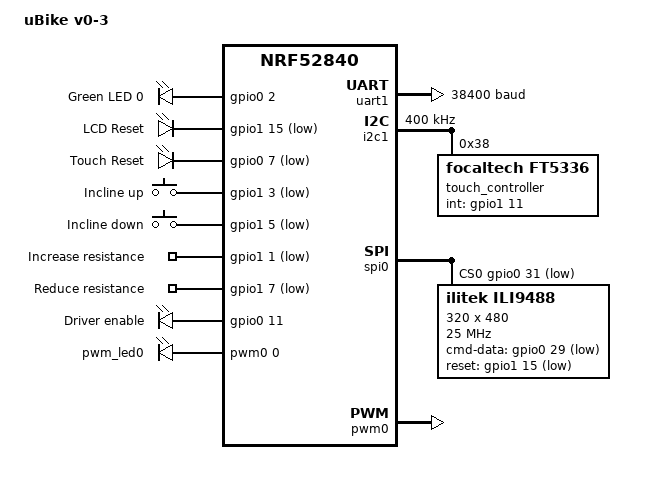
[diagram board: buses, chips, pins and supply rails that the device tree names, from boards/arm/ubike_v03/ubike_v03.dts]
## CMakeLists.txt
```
# Universal Bike Controller
# Copyright (C) 2022-2023, Greco Engineering Solutions LLC
#
# This program is free software: you can redistribute it and/or modify
# it under the terms of the GNU General Public License as published by
# the Free Software Foundation, either version 3 of the License, or
# (at your option) any later version.
#
# This program is distributed in the hope that it will be useful,
# but WITHOUT ANY WARRANTY; without even the implied warranty of
# MERCHANTABILITY or FITNESS FOR A PARTICULAR PURPOSE.  See the
# GNU General Public License for more details.
#
# You should have received a copy of the GNU General Public License
# along with this program.  If not, see <http://www.gnu.org/licenses/>.

# Get the current working branch
execute_process(
    COMMAND git rev-parse --abbrev-ref HEAD
    WORKING_DIRECTORY ${CMAKE_SOURCE_DIR}
    OUTPUT_VARIABLE GIT_BRANCH
    OUTPUT_STRIP_TRAILING_WHITESPACE)

# Get the latest commit hash
execute_process(
    COMMAND git rev-parse HEAD
    WORKING_DIRECTORY ${CMAKE_SOURCE_DIR}
    OUTPUT_VARIABLE GIT_COMMIT_HASH
    OUTPUT_STRIP_TRAILING_WHITESPACE)

# Get the latest tag associated with the current commit, if any
execute_process(
    COMMAND bash -c "git describe --tags --exact-match 2>/dev/null || echo ''"
    WORKING_DIRECTORY ${CMAKE_SOURCE_DIR}
    RESULT_VARIABLE GIT_DESCRIBE_RESULT
    OUTPUT_VARIABLE GIT_TAG
    OUTPUT_STRIP_TRAILING_WHITESPACE)

# Debugging output for the definitions
message(STATUS "GIT_COMMIT_HASH: ${GIT_COMMIT_HASH}")
message(STATUS "GIT_BRANCH: ${GIT_BRANCH}")
message(STATUS "GIT_TAG: ${GIT_TAG}")

# Add the definitions for the commit hash, branch, and tag
add_compile_definitions(
    GIT_COMMIT_HASH="${GIT_COMMIT_HASH}" 
    GIT_BRANCH="${GIT_BRANCH}" 
    GIT_TAG="${GIT_TAG}")

cmake_minimum_required(VERSION 3.20.0)
list(APPEND BOARD_ROOT ${CMAKE_CURRENT_SOURCE_DIR})
find_package(Zephyr REQUIRED HINTS $ENV{ZEPHYR_BASE})
project(ubike)
target_include_directories(app PRIVATE include)

target_sources(app PRIVATE src/asciiModbus.c)
target_sources(app PRIVATE src/bikeControl.c)
target_sources(app PRIVATE src/cps.c)
target_sources(app PRIVATE src/cscs.c)
target_sources(app PRIVATE src/display.c)
# target_sources(app PRIVATE src/fec.c)
target_sources(app PRIVATE src/ftms.c)
target_sources(app PRIVATE src/main.c)
```

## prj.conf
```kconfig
# Universal Bike Controller
# Copyright (C) 2022-2023, Greco Engineering Solutions LLC
#
# This program is free software: you can redistribute it and/or modify
# it under the terms of the GNU General Public License as published by
# the Free Software Foundation, either version 3 of the License, or
# (at your option) any later version.
#
# This program is distributed in the hope that it will be useful,
# but WITHOUT ANY WARRANTY; without even the implied warranty of
# MERCHANTABILITY or FITNESS FOR A PARTICULAR PURPOSE.  See the
# GNU General Public License for more details.
#
# You should have received a copy of the GNU General Public License
# along with this program.  If not, see <http://www.gnu.org/licenses/>.

CONFIG_ZCBOR=y
CONFIG_SERIAL=y
CONFIG_UART_ASYNC_API=y
CONFIG_COUNTER=y
CONFIG_NRFX_RTC2=y

CONFIG_BT=y
#CONFIG_BT_DEBUG_LOG=y
CONFIG_BT_SMP=y
CONFIG_BT_DFU_SMP=y
#CONFIG_BT_DEBUG_SMP=y
CONFIG_BT_PERIPHERAL=y
#CONFIG_BT_DIS=y
#CONFIG_BT_DIS_PNP=n
CONFIG_BT_DEVICE_NAME="uBike FTMS"
CONFIG_BT_DEVICE_APPEARANCE=1152

# For RTT debugging
CONFIG_RTT_CONSOLE=y
CONFIG_USE_SEGGER_RTT=y
CONFIG_CONSOLE=y
#CONFIG_I2C_LOG_LEVEL_DBG=y

# For LCD display
CONFIG_HEAP_MEM_POOL_SIZE=16384
CONFIG_MAIN_STACK_SIZE=8192
CONFIG_DISPLAY=y
CONFIG_SPI=y
CONFIG_LOG=n
CONFIG_LV_Z_MEM_POOL_NUMBER_BLOCKS=8
#CONFIG_DISPLAY_LOG_LEVEL_ERR=y
CONFIG_LVGL=y
CONFIG_LV_MEM_CUSTOM=y
#CONFIG_LV_USE_LOG=y
CONFIG_LV_USE_LABEL=y
CONFIG_LV_USE_BTN=y
CONFIG_LV_USE_IMG=y
CONFIG_LV_FONT_MONTSERRAT_24=y
CONFIG_LV_FONT_MONTSERRAT_48=y
CONFIG_LV_Z_POINTER_KSCAN=y
# CONFIG_DISPLAY_LOG_LEVEL_DBG=y

# For capacitive touch
CONFIG_KSCAN=y
CONFIG_I2C=y
CONFIG_INPUT=y
CONFIG_INPUT_FT5336=y
CONFIG_INPUT_FT5336_INTERRUPT=y
#CONFIG_INPUT_FT5336_PERIOD=1000
CONFIG_LV_Z_POINTER_KSCAN_SWAP_XY=y
CONFIG_LV_Z_POINTER_KSCAN_INVERT_Y=y

# For LED Backlight
CONFIG_PWM=y

# For diagnostics
# CONFIG_RESET_ON_FATAL_ERROR=n

# DFU support
CONFIG_MCUMGR=y
#CONFIG_MCUMGR_CMD_IMG_MGMT=y
#CONFIG_MCUMGR_CMD_OS_MGMT=y
CONFIG_BOOTLOADER_MCUBOOT=y
CONFIG_BT_L2CAP_TX_MTU=252
CONFIG_BT_BUF_ACL_RX_SIZE=256
#CONFIG_MCUMGR_SMP_BT=y
#CONFIG_MCUMGR_SMP_BT_AUTHEN=n
CONFIG_SYSTEM_WORKQUEUE_STACK_SIZE=4096
```

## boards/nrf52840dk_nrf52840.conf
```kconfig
# Universal Bike Controller
# Copyright (C) 2022-2023, Greco Engineering Solutions LLC
#
# This program is free software: you can redistribute it and/or modify
# it under the terms of the GNU General Public License as published by
# the Free Software Foundation, either version 3 of the License, or
# (at your option) any later version.
#
# This program is distributed in the hope that it will be useful,
# but WITHOUT ANY WARRANTY; without even the implied warranty of
# MERCHANTABILITY or FITNESS FOR A PARTICULAR PURPOSE.  See the
# GNU General Public License for more details.
#
# You should have received a copy of the GNU General Public License
# along with this program.  If not, see <http://www.gnu.org/licenses/>.

CONFIG_DUMMY_DISPLAY=y
CONFIG_MCUMGR=n
CONFIG_BOOTLOADER_MCUBOOT=n

CONFIG_KSCAN=n
CONFIG_I2C=n
```

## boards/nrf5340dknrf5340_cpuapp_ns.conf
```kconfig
# Universal Bike Controller
# Copyright (C) 2022-2023, Greco Engineering Solutions LLC
#
# This program is free software: you can redistribute it and/or modify
# it under the terms of the GNU General Public License as published by
# the Free Software Foundation, either version 3 of the License, or
# (at your option) any later version.
#
# This program is distributed in the hope that it will be useful,
# but WITHOUT ANY WARRANTY; without even the implied warranty of
# MERCHANTABILITY or FITNESS FOR A PARTICULAR PURPOSE.  See the
# GNU General Public License for more details.
#
# You should have received a copy of the GNU General Public License
# along with this program.  If not, see <http://www.gnu.org/licenses/>.

CONFIG_DUMMY_DISPLAY=y
CONFIG_SDL_DISPLAY=n
#CONFIG_TEST=y

CONFIG_MCUMGR=n
CONFIG_BOOTLOADER_MCUBOOT=n

CONFIG_KSCAN=n
CONFIG_I2C=n
```

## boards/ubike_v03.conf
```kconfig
# Universal Bike Controller
# Copyright (C) 2022-2023, Greco Engineering Solutions LLC
#
# This program is free software: you can redistribute it and/or modify
# it under the terms of the GNU General Public License as published by
# the Free Software Foundation, either version 3 of the License, or
# (at your option) any later version.
#
# This program is distributed in the hope that it will be useful,
# but WITHOUT ANY WARRANTY; without even the implied warranty of
# MERCHANTABILITY or FITNESS FOR A PARTICULAR PURPOSE.  See the
# GNU General Public License for more details.
#
# You should have received a copy of the GNU General Public License
# along with this program.  If not, see <http://www.gnu.org/licenses/>.
```

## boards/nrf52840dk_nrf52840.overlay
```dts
/*
 * Universal Bike Controller
 * Copyright (C) 2022-2023, Greco Engineering Solutions LLC
 *
 * This program is free software: you can redistribute it and/or modify
 * it under the terms of the GNU General Public License as published by
 * the Free Software Foundation, either version 3 of the License, or
 * (at your option) any later version.
 *
 * This program is distributed in the hope that it will be useful,
 * but WITHOUT ANY WARRANTY; without even the implied warranty of
 * MERCHANTABILITY or FITNESS FOR A PARTICULAR PURPOSE.  See the
 * GNU General Public License for more details.
 *
 * You should have received a copy of the GNU General Public License
 * along with this program.  If not, see <http://www.gnu.org/licenses/>.
 */

 / {
	chosen {
		zephyr,display = &dummy_dc;
		zephyr,flash = &flash0;
		zephyr,keyboard-scan = &touch_controller;
	};

	aliases {
		addinc = &button0;
		addres = &button2;
		subinc = &button1;
		subres = &button3;
		led0 = &led0;
		rs485de = &led1;
		cptrst = &led2;
		lcdrst = &led3;
		blpwm = &pwm_led0;
	};

	dummy_dc: dummy_dc {
		compatible = "zephyr,dummy-dc";
		height = <320>;
		width = <480>;
	};
};

&flash0 {
	partitions {
		boot_partition: partition@0 {
				reg = <0x00000000 0x00008000>;
		};
	};
};

&i2c1 {
	compatible = "nordic,nrf-twim";
	status = "okay";
	clock-frequency = <I2C_BITRATE_FAST>;
	pinctrl-0 = <&i2c1_default>;
	pinctrl-1 = <&i2c1_sleep>;
	pinctrl-names = "default", "sleep";

	touch_controller: ft5336@38 {
		compatible = "focaltech,ft5336";
		reg = <0x38>;
		int-gpios = <&gpio1 11 GPIO_ACTIVE_HIGH>; // YD
	};
};

&spi1 {
	status = "disabled";
};
```

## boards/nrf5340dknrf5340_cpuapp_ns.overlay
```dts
/*
 * Universal Bike Controller
 * Copyright (C) 2022-2023, Greco Engineering Solutions LLC
 *
 * This program is free software: you can redistribute it and/or modify
 * it under the terms of the GNU General Public License as published by
 * the Free Software Foundation, either version 3 of the License, or
 * (at your option) any later version.
 *
 * This program is distributed in the hope that it will be useful,
 * but WITHOUT ANY WARRANTY; without even the implied warranty of
 * MERCHANTABILITY or FITNESS FOR A PARTICULAR PURPOSE.  See the
 * GNU General Public License for more details.
 *
 * You should have received a copy of the GNU General Public License
 * along with this program.  If not, see <http://www.gnu.org/licenses/>.
 */

 / {
	chosen {
		zephyr,display = &dummy_dc;
		zephyr,flash = &flash0;
		zephyr,keyboard-scan = &touch_controller;
	};

	aliases {
		addinc = &button0;
		addres = &button2;
		subinc = &button1;
		subres = &button3;
		led0 = &led0;
		rs485de = &led1;
		cptrst = &led2;
		lcdrst = &led3;
		blpwm = &pwm_led0;
	};

	dummy_dc: dummy_dc {
		compatible = "zephyr,dummy-dc";
		height = <320>;
		width = <480>;
	};
};

&flash0 {
	partitions {
		boot_partition: partition@0 {
				reg = <0x00000000 0x00008000>;
		};
	};
};

&uart1 {
	status = "okay";
};

&i2c1 {
	compatible = "nordic,nrf-twim";
	status = "okay";
	clock-frequency = <I2C_BITRATE_FAST>;
	pinctrl-0 = <&i2c1_default>;
	pinctrl-1 = <&i2c1_sleep>;
	pinctrl-names = "default", "sleep";

	touch_controller: ft5336@38 {
		compatible = "focaltech,ft5336";
		reg = <0x38>;
		int-gpios = <&gpio1 11 GPIO_ACTIVE_HIGH>; // YD
	};
};

&spi1 {
	status = "disabled";
};
```

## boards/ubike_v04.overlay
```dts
/*
 * Universal Bike Controller
 * Copyright (C) 2022-2023, Greco Engineering Solutions LLC
 *
 * This program is free software: you can redistribute it and/or modify
 * it under the terms of the GNU General Public License as published by
 * the Free Software Foundation, either version 3 of the License, or
 * (at your option) any later version.
 *
 * This program is distributed in the hope that it will be useful,
 * but WITHOUT ANY WARRANTY; without even the implied warranty of
 * MERCHANTABILITY or FITNESS FOR A PARTICULAR PURPOSE.  See the
 * GNU General Public License for more details.
 *
 * You should have received a copy of the GNU General Public License
 * along with this program.  If not, see <http://www.gnu.org/licenses/>.
 */
```

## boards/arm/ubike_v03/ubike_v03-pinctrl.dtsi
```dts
/*
 * Universal Bike Controller
 * Copyright (C) 2022-2023, Greco Engineering Solutions LLC
 *
 * This program is free software: you can redistribute it and/or modify
 * it under the terms of the GNU General Public License as published by
 * the Free Software Foundation, either version 3 of the License, or
 * (at your option) any later version.
 *
 * This program is distributed in the hope that it will be useful,
 * but WITHOUT ANY WARRANTY; without even the implied warranty of
 * MERCHANTABILITY or FITNESS FOR A PARTICULAR PURPOSE.  See the
 * GNU General Public License for more details.
 *
 * You should have received a copy of the GNU General Public License
 * along with this program.  If not, see <http://www.gnu.org/licenses/>.
 */

 &pinctrl {
	uart1_default: uart1_default {
		group1 {
			psels = <NRF_PSEL(UART_TX, 1, 8)>,
					<NRF_PSEL(UART_RX, 0, 12)>;
			//bias-pull-up;
		};
	};

	uart1_sleep: uart1_sleep {
		group1 {
			psels = <NRF_PSEL(UART_TX, 1, 8)>,
					<NRF_PSEL(UART_RX, 0, 12)>;
			low-power-enable;
		};
	};

	i2c1_default: i2c1_default {
		group1 {
			psels = <NRF_PSEL(TWIM_SDA, 0, 27)>, // XR
					<NRF_PSEL(TWIM_SCL, 1, 13)>; // XL
		};
	};

	i2c1_sleep: i2c1_sleep {
		group1 {
			psels = <NRF_PSEL(TWIM_SDA, 0, 27)>, // XR
					<NRF_PSEL(TWIM_SCL, 1, 13)>; // XL
			low-power-enable;
		};
	};

	spi0_default: spi0_default {
		group1 {
			psels = <NRF_PSEL(SPIM_SCK, 0, 30)>,  // SCL
					<NRF_PSEL(SPIM_MOSI, 1, 10)>, // SDI
					<NRF_PSEL(SPIM_MISO, 0, 28)>; // SDO
		};
	};

	spi0_sleep: spi0_sleep {
		group1 {
			psels = <NRF_PSEL(SPIM_SCK, 0, 30)>,  // SCL
					<NRF_PSEL(SPIM_MOSI, 1, 10)>, // SDI
					<NRF_PSEL(SPIM_MISO, 0, 28)>; // SDO
			low-power-enable;
		};
	};

	pwm0_default: pwm0_default {
		group1 {
			psels = <NRF_PSEL(PWM_OUT0, 0, 26)>;
		};
	};

	pwm0_sleep: pwm0_sleep {
		group1 {
			psels = <NRF_PSEL(PWM_OUT0, 0, 26)>;
			low-power-enable;
		};
	};
};
```

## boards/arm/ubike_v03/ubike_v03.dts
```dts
/*
 * Universal Bike Controller
 * Copyright (C) 2022-2023, Greco Engineering Solutions LLC
 *
 * This program is free software: you can redistribute it and/or modify
 * it under the terms of the GNU General Public License as published by
 * the Free Software Foundation, either version 3 of the License, or
 * (at your option) any later version.
 *
 * This program is distributed in the hope that it will be useful,
 * but WITHOUT ANY WARRANTY; without even the implied warranty of
 * MERCHANTABILITY or FITNESS FOR A PARTICULAR PURPOSE.  See the
 * GNU General Public License for more details.
 *
 * You should have received a copy of the GNU General Public License
 * along with this program.  If not, see <http://www.gnu.org/licenses/>.
 */

/dts-v1/;
#include <nordic/nrf52840_qiaa.dtsi>
#include <zephyr/dt-bindings/display/ili9xxx.h>
#include "ubike_v03-pinctrl.dtsi"

/ {
	model = "uBike v0-3";
	compatible = "ubike,ubike-v03";

	 chosen {
		 zephyr,console = &uart0;
		 zephyr,shell-uart = &uart0;
		 zephyr,uart-mcumgr = &uart0;
		 zephyr,bt-mon-uart = &uart0;
		 zephyr,bt-c2h-uart = &uart0;
		 zephyr,sram = &sram0;
		 zephyr,flash = &flash0;
		 zephyr,display = &ili9488;
		 zephyr,keyboard-scan = &touch_controller;
	 };

	 leds {
		 compatible = "gpio-leds";
		 led0: led_0 {
			 gpios = <&gpio0 2 GPIO_ACTIVE_HIGH>; // UNUSED
			 label = "Green LED 0";
		 };
		 lcdrst: lcd_rst { // RESET
			 gpios = <&gpio1 15 GPIO_ACTIVE_LOW>;
			 label = "LCD Reset";
		 };
		 cptrst: cpt_rst { // YU
			 gpios = <&gpio0 7 GPIO_ACTIVE_LOW>;
			 label = "Touch Reset";
		 };
	 };

	 buttons {
		compatible = "gpio-keys";
		addInc: add_inc { // IN 4
			gpios = <&gpio1 3 (GPIO_PULL_UP | GPIO_ACTIVE_LOW)>;
			label = "Incline up";
		};
		subInc: sub_inc { // IN 1
			gpios = <&gpio1 5 (GPIO_PULL_UP | GPIO_ACTIVE_LOW)>;
			label = "Incline down";
		};
		addRes: add_res { // IN 3
			gpios = <&gpio1 1 (GPIO_PULL_UP | GPIO_ACTIVE_LOW)>;
			label = "Increase resistance";
		};
		subRes: sub_res { // IN 2
			gpios = <&gpio1 7 (GPIO_PULL_UP | GPIO_ACTIVE_LOW)>;
			label = "Reduce resistance";
		};
	};

	rs485 {
		compatible = "gpio-leds";
		rs485de: rs485_de {
			gpios = <&gpio0 11 GPIO_ACTIVE_HIGH>;
			label = "Driver enable";
		};
	};

	pwmleds {
		compatible = "pwm-leds";
		pwm_led0: pwm_led_0 {
			pwms = <&pwm0 0 PWM_MSEC(20) PWM_POLARITY_INVERTED>;
		};
	};

	aliases {
		rs485de = &rs485de;
		lcdrst = &lcdrst;
		cptrst = &cptrst;
		blpwm = &pwm_led0;
		addinc = &addInc;
		subinc = &subInc;
		addres = &addRes;
		subres = &subRes;
		led0 = &led0;
		bootloader-led0 = &led0;
		mcuboot-led0 = &led0;
		watchdog0 = &wdt0;
	};
};

&flash0 {
	partitions {
		compatible = "fixed-partitions";
		#address-cells = <1>;
		#size-cells = <1>;

		boot_partition: partition@0 {
				label = "mcuboot";
				reg = <0x000000000 0x00008000>;
		};
	};
};

&gpio0 {
	status = "okay";
};

&gpio1 {
	status = "okay";
};

&uart0 {
	status = "disabled";
};

&uart1 {
	compatible = "nordic,nrf-uarte";
	current-speed = <38400>;
	status = "okay";
	pinctrl-0 = <&uart1_default>;
	pinctrl-1 = <&uart1_sleep>;
	pinctrl-names = "default", "sleep";
};

&i2c1 {
	compatible = "nordic,nrf-twim";
	status = "okay";
	clock-frequency = <I2C_BITRATE_FAST>;
	pinctrl-0 = <&i2c1_default>;
	pinctrl-1 = <&i2c1_sleep>;
	pinctrl-names = "default", "sleep";

	touch_controller: ft5336@38 {
		compatible = "focaltech,ft5336";
		reg = <0x38>;
		int-gpios = <&gpio1 11 GPIO_ACTIVE_HIGH>; // YD
	};
};

&spi0 {
	status = "okay";
	compatible = "nordic,nrf-spim";
	cs-gpios = <&gpio0 31 GPIO_ACTIVE_LOW>; // CS
	pinctrl-0 = <&spi0_default>;
	pinctrl-1 = <&spi0_sleep>;
	pinctrl-names = "default", "sleep";
 
	ili9488: ili9488@0 {
		compatible = "ilitek,ili9488";
		spi-max-frequency = <25000000>;
		reg = <0>;
		cmd-data-gpios =  <&gpio0 29 GPIO_ACTIVE_LOW>; // RS
		reset-gpios = <&gpio1 15 GPIO_ACTIVE_LOW>; // RESET
		pixel-format = <ILI9XXX_PIXEL_FORMAT_RGB888>;
		width = <320>;
		height = <480>;
		rotation = <180>;
		frmctr1 = [a0 11];
		pwctrl1 = [17 15];
		pwctrl2 = [41];
		pgamctrl = [00 03 09 08 16 0a 3f 78 4c 09 0a 08 16 1a 0f];
		ngamctrl = [00 16 19 03 0f 05 32 45 46 04 0e 0d 35 37 0f];
	};
};

&pwm0 {
	status = "okay";
	pinctrl-0 = <&pwm0_default>;
	pinctrl-1 = <&pwm0_sleep>;
	pinctrl-names = "default", "sleep";
};
```

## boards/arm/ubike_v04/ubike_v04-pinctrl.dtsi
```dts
/*
 * Universal Bike Controller
 * Copyright (C) 2022-2023, Greco Engineering Solutions LLC
 *
 * This program is free software: you can redistribute it and/or modify
 * it under the terms of the GNU General Public License as published by
 * the Free Software Foundation, either version 3 of the License, or
 * (at your option) any later version.
 *
 * This program is distributed in the hope that it will be useful,
 * but WITHOUT ANY WARRANTY; without even the implied warranty of
 * MERCHANTABILITY or FITNESS FOR A PARTICULAR PURPOSE.  See the
 * GNU General Public License for more details.
 *
 * You should have received a copy of the GNU General Public License
 * along with this program.  If not, see <http://www.gnu.org/licenses/>.
 */

 &pinctrl {
	uart1_default: uart1_default {
		group1 {
			psels = <NRF_PSEL(UART_TX, 0, 29)>,
					<NRF_PSEL(UART_RX, 0, 30)>;
			bias-pull-up;
		};
	};

	uart1_sleep: uart1_sleep {
		group1 {
			psels = <NRF_PSEL(UART_TX, 0, 29)>,
					<NRF_PSEL(UART_RX, 0, 30)>;
			low-power-enable;
		};
	};

	i2c1_default: i2c1_default {
		group1 {
			psels = <NRF_PSEL(TWIM_SDA, 0, 15)>, // CTP_SDA
					<NRF_PSEL(TWIM_SCL, 0, 8)>;  // CTP_SCL
		};
	};

	i2c1_sleep: i2c1_sleep {
		group1 {
			psels = <NRF_PSEL(TWIM_SDA, 0, 15)>, // CTP_SDA
					<NRF_PSEL(TWIM_SCL, 0, 8)>;  // CTP_SCL
			low-power-enable;
		};
	};

	spi0_default: spi0_default {
		group1 {
			psels = <NRF_PSEL(SPIM_SCK, 0, 7)>,   // SCL
					<NRF_PSEL(SPIM_MOSI, 0, 6)>,  // SDI
					<NRF_PSEL(SPIM_MISO, 0, 11)>; // SDO
		};
	};

	spi0_sleep: spi0_sleep {
		group1 {
			psels = <NRF_PSEL(SPIM_SCK, 0, 7)>,   // SCL
					<NRF_PSEL(SPIM_MOSI, 0, 6)>,  // SDI
					<NRF_PSEL(SPIM_MISO, 0, 11)>; // SDO
			low-power-enable;
		};
	};

	pwm0_default: pwm0_default {
		group1 {
			psels = <NRF_PSEL(PWM_OUT0, 0, 17)>;
		};
	};

	pwm0_sleep: pwm0_sleep {
		group1 {
			psels = <NRF_PSEL(PWM_OUT0, 0, 17)>;
			low-power-enable;
		};
	};
};
```

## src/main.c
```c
/*
 * Universal Bike Controller
 * Copyright (C) 2022-2023, Greco Engineering Solutions LLC
 *
 * This program is free software: you can redistribute it and/or modify
 * it under the terms of the GNU General Public License as published by
 * the Free Software Foundation, either version 3 of the License, or
 * (at your option) any later version.
 *
 * This program is distributed in the hope that it will be useful,
 * but WITHOUT ANY WARRANTY; without even the implied warranty of
 * MERCHANTABILITY or FITNESS FOR A PARTICULAR PURPOSE.  See the
 * GNU General Public License for more details.
 *
 * You should have received a copy of the GNU General Public License
 * along with this program.  If not, see <http://www.gnu.org/licenses/>.
 */

#include <stdio.h>
#include <stdlib.h>
#include <string.h>
#include <zephyr/bluetooth/bluetooth.h>
#include <zephyr/bluetooth/conn.h>
#include <zephyr/bluetooth/gatt.h>
#include <zephyr/bluetooth/uuid.h>
#include <zephyr/drivers/counter.h>
#include <zephyr/drivers/gpio.h>
#include <zephyr/drivers/uart.h>
#include <zephyr/kernel.h>
#include <zephyr/logging/log.h>
#include <zephyr/mgmt/mcumgr/transport/smp_bt.h>
#include <zephyr/random/rand32.h>
#include <zephyr/types.h>

#include "asciiModbus.h"
#include "bikeControl.h"
#include "cps.h"
#include "cscs.h"
#include "display.h"
// #include "fec.h"
#include "ftms.h"
#include "version.h"

LOG_MODULE_REGISTER ( app );

#define DEVICE_NAME CONFIG_BT_DEVICE_NAME
#define DEVICE_NAME_LEN ( sizeof ( DEVICE_NAME ) - 1 )
#define BT_DEVICE_CYCLING_APPEARANCE 0x012

#define TGT_CYCLE_MS 500

#define LED0_NODE DT_ALIAS ( led0 )
#define RS485DE_NODE DT_ALIAS ( rs485de )
#define CPT_RST_NODE DT_ALIAS ( cptrst )

#define BUT1_NODE DT_ALIAS ( addinc )
#define BUT2_NODE DT_ALIAS ( subinc )
#define BUT3_NODE DT_ALIAS ( addres )
#define BUT4_NODE DT_ALIAS ( subres )

#define INC_ALARM_ID 0
#define RES_ALARM_ID 1

#define RX_BUFF_SIZE 100
#define TX_BUFF_SIZE 20
#define RX_TIMEOUT_US 2000
#define TX_TIMEOUT_US 2000
#define SEM_TIMEOUT K_MSEC ( 50 )

static const struct bt_data ad []
    = { BT_DATA_BYTES ( BT_DATA_GAP_APPEARANCE,
                        ( BT_DEVICE_CYCLING_APPEARANCE >> 0 ) & 0xff,
                        ( BT_DEVICE_CYCLING_APPEARANCE >> 8 ) & 0xff ),
        BT_DATA_BYTES ( BT_DATA_FLAGS,
                        ( BT_LE_AD_GENERAL | BT_LE_AD_NO_BREDR ) ),
        BT_DATA_BYTES ( BT_DATA_UUID16_ALL,
                        BT_UUID_16_ENCODE ( BT_UUID_CPS_VAL ),
                        BT_UUID_16_ENCODE ( BT_UUID_CSC_VAL ),
                        BT_UUID_16_ENCODE ( BT_UUID_FTMS_VAL ) ),
        BT_DATA ( BT_DATA_NAME_COMPLETE, DEVICE_NAME, DEVICE_NAME_LEN ) };

static const struct bt_data sd [] = {
    BT_DATA_BYTES ( BT_DATA_UUID128_ALL,
                    0x84,
                    0xaa,
                    0x60,
                    0x74,
                    0x52,
                    0x8a,
                    0x8b,
                    0x86,
                    0xd3,
                    0x4c,
                    0xb7,
                    0x1d,
                    0x1d,
                    0xdc,
                    0x53,
                    0x8d ),
};

static void adv_start ( void )
{
    int err;

    err = bt_le_adv_start ( BT_LE_ADV_CONN,
                            ad,
                            ARRAY_SIZE ( ad ),
                            sd,
                            ARRAY_SIZE ( sd ) );
    if ( err ) {
        LOG_ERR ( "Advertising failed to start (err %d)", err );
        return;
    }

    LOG_INF ( "Advertising successfully started" );
}

static void connected ( struct bt_conn *conn, uint8_t err )
{
    if ( err ) {
        LOG_ERR ( "Connection failed (err 0x%02x)", err );
    } else {
        LOG_INF ( "Connected" );
    }
}

static void disconnected ( struct bt_conn *conn, uint8_t reason )
{
    LOG_INF ( "Disconnected (reason 0x%02x)", reason );
}

BT_CONN_CB_DEFINE ( conn_callbacks )
    = { .connected = connected, .disconnected = disconnected };

K_SEM_DEFINE ( rs485_sem, 0, 1 );
K_CONDVAR_DEFINE ( txDoneVar );
K_CONDVAR_DEFINE ( rxDoneVar );
K_MUTEX_DEFINE ( mutex );
static const struct gpio_dt_spec led = GPIO_DT_SPEC_GET ( LED0_NODE, gpios );
static const struct gpio_dt_spec rs485de
    = GPIO_DT_SPEC_GET ( RS485DE_NODE, gpios );
static const struct gpio_dt_spec cptRst
    = GPIO_DT_SPEC_GET ( CPT_RST_NODE, gpios );
static const struct device *uart = DEVICE_DT_GET ( DT_NODELABEL ( uart1 ) );
static const struct gpio_dt_spec addInc = GPIO_DT_SPEC_GET ( BUT1_NODE, gpios );
static const struct gpio_dt_spec subInc = GPIO_DT_SPEC_GET ( BUT3_NODE, gpios );
static const struct gpio_dt_spec addRes = GPIO_DT_SPEC_GET ( BUT2_NODE, gpios );
static const struct gpio_dt_spec subRes = GPIO_DT_SPEC_GET ( BUT4_NODE, gpios );
static const struct device *rtc2_dev = DEVICE_DT_GET ( DT_NODELABEL ( rtc2 ) );
struct counter_alarm_cfg alarmCfg;
static struct gpio_callback addIncCbData;
static struct gpio_callback subIncCbData;
static struct gpio_callback addResCbData;
static struct gpio_callback subResCbData;
static uint8_t rx_buf_1 [RX_BUFF_SIZE] = { 0 };
static uint8_t rx_buf_2 [RX_BUFF_SIZE] = { 0 };
static uint8_t rx_buf_num = 1;
static uint8_t tx_buf [TX_BUFF_SIZE] = { 0 };

int send_cmd ( cmd_msg_data_t cmd )
{
#if defined( CONFIG_BOARD_NRF52840DK_NRF52840 ) \
    || defined( CONFIG_BOARD_NRF52840DONGLE_NRF52840 )
    return;
#endif

    // Check the semaphore isn't taken
    k_mutex_lock ( &mutex, K_FOREVER );
    if ( k_sem_take ( &rs485_sem, SEM_TIMEOUT ) ) {
        LOG_WRN ( "Failed to get rs485 semaphore!  Transmitting anyways..." );
    }

    // Send the message
    gpio_pin_set_dt ( &rs485de, 1 );
    k_msleep ( 5 );  // Give transciever time to update
    if ( uart_tx ( uart, tx_buf, create_msg ( tx_buf, cmd ), TX_TIMEOUT_US ) ) {
        gpio_pin_set_dt ( &rs485de, 0 );
        k_sem_give ( &rs485_sem );
        LOG_ERR ( "Failed to send message..." );
        return -1;
    }

    // Wait for send
    if ( k_condvar_wait ( &txDoneVar, &mutex, SEM_TIMEOUT ) ) {
        LOG_ERR ( "Timed out waiting for TX done." );
        return -2;
    }
    k_mutex_unlock ( &mutex );

    // Wait for reply
    if ( k_condvar_wait ( &rxDoneVar, &mutex, SEM_TIMEOUT ) ) {
        LOG_ERR ( "Timed out waiting for reply." );
        return -3;
    }
    k_mutex_unlock ( &mutex );

    return 0;
}

static void counter_interrupt_cb ( const struct device *counter_dev,
                                   uint8_t chan_id,
                                   uint32_t ticks,
                                   void *user_data )
{
    buttonStatus_t adj;
    uint64_t delay_us;
    if ( chan_id == INC_ALARM_ID ) {
        adj = evaluateButton ( gpio_pin_get ( addInc.port, addInc.pin ),
                               gpio_pin_get ( subInc.port, subInc.pin ) );
        if ( adj == NOTHING ) {
            return;
        }
        adjustIncline ( adj );
        delay_us = INC_BUTTON_DLY_US;
    } else if ( chan_id == RES_ALARM_ID ) {
        adj = evaluateButton ( gpio_pin_get ( addRes.port, addRes.pin ),
                               gpio_pin_get ( subRes.port, subRes.pin ) );
        if ( adj == NOTHING ) {
            return;
        }
        adjustResistance ( adj );
        delay_us = RES_BUTTON_DLY_US;
    } else {
        LOG_ERR ( "Invalid channel id: %d!", chan_id );
        return;
    }

    // Restart
    alarmCfg.ticks = counter_us_to_ticks ( rtc2_dev, delay_us );
    int err = counter_set_channel_alarm ( counter_dev, chan_id, &alarmCfg );
    if ( err ) {
        LOG_ERR ( "Alarm %d could not be set! Error: %d", chan_id, err );
    }
}

static void incPressed ( const struct device *dev,
                         struct gpio_callback *cb,
                         uint32_t pins )
{
    alarmCfg.ticks = counter_us_to_ticks ( rtc2_dev, INC_BUTTON_DLY_US );
    int err = counter_set_channel_alarm ( rtc2_dev, INC_ALARM_ID, &alarmCfg );
    if ( err ) {
        LOG_ERR ( "Alarm %d could not be set! Error: %d", INC_ALARM_ID, err );
    } else {
        // Setting counter fails if its already been set, which is often the
        // case when there is bounce in the signal.  So only increment if
        // setting the timer does not fail, this implements a psuedo-debounce.
        buttonStatus_t adj
            = evaluateButton ( gpio_pin_get ( addInc.port, addInc.pin ),
                               gpio_pin_get ( subInc.port, subInc.pin ) );
        adjustIncline ( adj );
    }
}

static void resPressed ( const struct device *dev,
                         struct gpio_callback *cb,
                         uint32_t pins )
{
    alarmCfg.ticks = counter_us_to_ticks ( rtc2_dev, RES_BUTTON_DLY_US );
    int err = counter_set_channel_alarm ( rtc2_dev, RES_ALARM_ID, &alarmCfg );
    if ( err ) {
        LOG_ERR ( "Alarm %d could not be set! Error: %d", RES_ALARM_ID, err );
    } else {
        // Setting counter fails if its already been set, which is often the
        // case when there is bounce in the signal.  So only increment if
        // setting the timer does not fail, this implements a psuedo-debounce.
        buttonStatus_t adj
            = evaluateButton ( gpio_pin_get ( addRes.port, addRes.pin ),
                               gpio_pin_get ( subRes.port, subRes.pin ) );
        adjustResistance ( adj );
    }
}

static void add_rx_bytes ( char *buff, size_t offset, size_t len )
{
    static char msg [2 * RX_BUFF_SIZE] = { 0 };
    static size_t pos = 0;
    for ( int i = 0; i < len; i++ ) {
        if ( pos + i >= 2 * RX_BUFF_SIZE ) {
            LOG_ERR ( "Message buffer overflow!" );
            pos = 0;
            memset ( msg, 0, 2 * RX_BUFF_SIZE );
            return;
        }
        msg [pos] = buff [offset + i];
        if ( msg [pos] == TERM_CHAR_8 ) {
            char *start = strrchr ( msg, START_CHAR_8 );
            if ( start ) {
                if ( start != msg ) {
                    LOG_WRN ( "Data thrown out!" );
                }
                int res = new_msg ( start, pos - ( start - msg ) );
                if ( res ) {
                    LOG_ERR ( "Failed to process new message: %d", res );
                }
                k_sem_give ( &rs485_sem );
                k_condvar_signal ( &rxDoneVar );
            }
            pos = 0;
            memset ( msg, 0, 2 * RX_BUFF_SIZE );
        } else {
            pos++;
        }
    }
}

static int enable_rx()
{
    if ( rx_buf_num == 2 ) {
        rx_buf_num = 1;
        return uart_rx_enable ( uart, rx_buf_1, RX_BUFF_SIZE, RX_TIMEOUT_US );
    }
    rx_buf_num = 2;
    return uart_rx_enable ( uart, rx_buf_2, RX_BUFF_SIZE, RX_TIMEOUT_US );
}

static int switch_rx_buf()
{
    if ( rx_buf_num == 2 ) {
        rx_buf_num = 1;
        return uart_rx_buf_rsp ( uart, rx_buf_1, RX_BUFF_SIZE );
    }
    rx_buf_num = 2;
    return uart_rx_buf_rsp ( uart, rx_buf_2, RX_BUFF_SIZE );
}

static void release_rx_buf()
{
    if ( rx_buf_num == 2 ) {
        memset ( rx_buf_1, 0, RX_BUFF_SIZE );
    }
    memset ( rx_buf_2, 0, RX_BUFF_SIZE );
}

static void uart_cb ( const struct device *dev,
                      struct uart_event *evt,
                      void *user_data )
{
    switch ( evt->type ) {
        case UART_TX_DONE:
            memset ( tx_buf, 0, TX_BUFF_SIZE );
            k_msleep ( 2 );
            gpio_pin_set_dt ( &rs485de, 0 );
            k_condvar_signal ( &txDoneVar );
            break;
        case UART_RX_RDY:
            add_rx_bytes ( evt->data.rx.buf,
                           evt->data.rx.offset,
                           evt->data.rx.len );
            break;
        case UART_RX_DISABLED:
            LOG_WRN ( "UART_RX_DISABLED" );
            enable_rx();
            break;
        case UART_TX_ABORTED:
            LOG_WRN ( "UART_TX_ABORTED" );
            gpio_pin_set_dt ( &rs485de, 0 );
            memset ( tx_buf, 0, TX_BUFF_SIZE );
            break;
        case UART_RX_BUF_REQUEST:
            switch_rx_buf();
            break;
        case UART_RX_BUF_RELEASED:
            release_rx_buf();
            break;
        case UART_RX_STOPPED:
            LOG_WRN ( "UART_RX_STOPPED" );
            break;
    }
}

void main ( void )
{
    LOG_INF ( "Starting application, board: %s", CONFIG_BOARD );
    LOG_INF ( "Software: %s:%s", GIT_BRANCH, GIT_COMMIT_HASH );

    LOG_INF ( "Registering callbacks..." );
    setSendMsgCb ( send_cmd );
    ftmsSetTargetsCb ( updateBikeTgts );
    // fecSetTargetsCb ( updateBikeTgts );

    LOG_INF ( "Configuring GPIO..." );
    int ret = 0;
    if ( !device_is_ready ( led.port ) ) {
        ret++;
    }
    if ( !device_is_ready ( rs485de.port ) ) {
        ret++;
    }
    if ( !device_is_ready ( cptRst.port ) ) {
        ret++;
    }
    if ( !device_is_ready ( addInc.port ) ) {
        ret++;
    }
    if ( !device_is_ready ( subInc.port ) ) {
        ret++;
    }
    if ( !device_is_ready ( addRes.port ) ) {
        ret++;
    }
    if ( !device_is_ready ( subRes.port ) ) {
        ret++;
    }
    if ( ret ) {
        LOG_ERR ( "A port was not ready!" );
        return;
    }
    if ( gpio_pin_configure_dt ( &led, GPIO_OUTPUT_ACTIVE ) < 0 ) {
        ret++;
    }
    if ( gpio_pin_configure_dt ( &rs485de, GPIO_OUTPUT_INACTIVE ) < 0 ) {
        ret++;
    }
    if ( gpio_pin_configure_dt ( &cptRst, GPIO_OUTPUT_INACTIVE ) < 0 ) {
        ret++;
    }
    if ( gpio_pin_configure_dt ( &addInc, GPIO_INPUT ) < 0 ) {
        ret++;
    }
    if ( gpio_pin_configure_dt ( &subInc, GPIO_INPUT ) < 0 ) {
        ret++;
    }
    if ( gpio_pin_configure_dt ( &addRes, GPIO_INPUT ) < 0 ) {
        ret++;
    }
    if ( gpio_pin_configure_dt ( &subRes, GPIO_INPUT ) < 0 ) {
        ret++;
    }
    if ( ret ) {
        LOG_ERR ( "Configuration failed of %d devices!", ret );
        return;
    }
    if ( gpio_pin_interrupt_configure_dt ( &addInc, GPIO_INT_EDGE_TO_ACTIVE )
         != 0 ) {
        ret++;
    }
    if ( gpio_pin_interrupt_configure_dt ( &subInc, GPIO_INT_EDGE_TO_ACTIVE )
         != 0 ) {
        ret++;
    }
    if ( gpio_pin_interrupt_configure_dt ( &addRes, GPIO_INT_EDGE_TO_ACTIVE )
         != 0 ) {
        ret++;
    }
    if ( gpio_pin_interrupt_configure_dt ( &subRes, GPIO_INT_EDGE_TO_ACTIVE )
         != 0 ) {
        ret++;
    }
    if ( ret ) {
        LOG_ERR ( "Setting of pin interrupt failed on %d devices!", ret );
        return;
    }
    gpio_init_callback ( &addIncCbData, incPressed, BIT ( addInc.pin ) );
    gpio_init_callback ( &subIncCbData, incPressed, BIT ( subInc.pin ) );
    gpio_init_callback ( &addResCbData, resPressed, BIT ( addRes.pin ) );
    gpio_init_callback ( &subResCbData, resPressed, BIT ( subRes.pin ) );
    if ( gpio_add_callback ( addInc.port, &addIncCbData ) != 0 ) {
        ret++;
    }
    if ( gpio_add_callback ( subInc.port, &subIncCbData ) != 0 ) {
        ret++;
    }
    if ( gpio_add_callback ( addRes.port, &addResCbData ) != 0 ) {
        ret++;
    }
    if ( gpio_add_callback ( subRes.port, &subResCbData ) != 0 ) {
        ret++;
    }
    if ( ret ) {
        LOG_ERR ( "Setting of input callbacks failed on %d devices!", ret );
        return;
    }

    LOG_INF ( "Starting Uart1..." );
    uart = DEVICE_DT_GET ( DT_NODELABEL ( uart1 ) );
    if ( !device_is_ready ( uart ) ) {
        LOG_ERR ( "Uart1 not ready!" );
        return;
    }
    LOG_INF ( "Checking Uart1 ready..." );
    uint32_t start_ms = k_uptime_get_32();
    do {
        ret = uart_err_check ( uart );
        if ( ret ) {
            uint32_t end_ms = k_uptime_get_32();
            if ( end_ms - start_ms > 2000 ) {
                LOG_ERR ( "UART1 check failed: %d", ret );
                return;
            }
            k_msleep ( 10 );
        }
    } while ( ret );
    const struct uart_config uart_cfg
        = { .baudrate = 38400,
            .parity = UART_CFG_PARITY_NONE,
            .stop_bits = UART_CFG_STOP_BITS_1,
            .data_bits = UART_CFG_DATA_BITS_8,
            .flow_ctrl = UART_CFG_FLOW_CTRL_NONE };
    LOG_INF ( "Configuring Uart1..." );
    ret = uart_configure ( uart, &uart_cfg );
    if ( ret ) {
        LOG_ERR ( "Uart1 configure failure: %d", ret );
        return;
    }
    ret = uart_callback_set ( uart, uart_cb, NULL );
    if ( ret ) {
        LOG_ERR ( "Uart1 callback set failure: %d", ret );
        return;
    }
    ret = enable_rx();
    if ( ret ) {
        LOG_ERR ( "Uart1 rx buffer enable failure: %d", ret );
        return;
    }

    LOG_INF ( "Initializing bluetooth..." );
    smp_bt_register();
    ret = bt_enable ( NULL );
    if ( ret ) {
        LOG_ERR ( "Bluetooth init failed (err %d)", ret );
        return;
    }
    LOG_INF ( "Starting advertising..." );
    adv_start();

    LOG_INF ( "Starting counter..." );
    if ( !device_is_ready ( rtc2_dev ) ) {
        LOG_ERR ( "Counter is not ready!" );
        return;
    }
    if ( counter_start ( rtc2_dev ) ) {
        LOG_ERR ( "Counter failed to start!" );
        return;
    }
    alarmCfg.flags = 0;
    alarmCfg.callback = counter_interrupt_cb;
    alarmCfg.user_data = &alarmCfg;

    // Configure nodes
    LOG_INF ( "Configuring bike nodes..." );
    initBike();

    // Start display last so user knows its ready
    LOG_INF ( "Starting Display..." );
    if ( initDisplay() ) {
        LOG_ERR ( "Display initialization failed!" );
        return;
    }

    LOG_INF ( "Startup complete!  Entering loop..." );
    uint32_t exec_ms;
    bike_data_t bikeData;
    while ( 1 ) {
        // Set start time
        start_ms = k_uptime_get_32();

        // Update bike
        gpio_pin_toggle_dt ( &led );
        updateBike();
        bikeData = getBikeData();
#if defined( CONFIG_BOARD_NRF52840DK_NRF52840 ) \
    || defined( CONFIG_BOARD_NRF52840DONGLE_NRF52840 )
        bikeData.act_rpm = ( sys_rand32_get() % 21 ) + 80;
        bikeData.watts = ( sys_rand32_get() % 101 ) + 200;
#endif

        // Update bluetooth services
        bt_cscs_bike_notify ( bikeData );
        bt_cps_notify ( bikeData );
        bt_ftms_bike_notify ( bikeData );
        // bt_fec_update ( bikeData );
        bt_ftms_status_notify();

        // Update display
        updateDisplay ( bikeData );

        // Sleep to hit cycle target
        exec_ms = k_uptime_get_32() - start_ms;
        if ( exec_ms < TGT_CYCLE_MS ) {
            k_msleep ( TGT_CYCLE_MS - exec_ms );
        }
    }
}
```

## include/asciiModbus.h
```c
/*
 * Universal Bike Controller
 * Copyright (C) 2022-2023, Greco Engineering Solutions LLC
 *
 * This program is free software: you can redistribute it and/or modify
 * it under the terms of the GNU General Public License as published by
 * the Free Software Foundation, either version 3 of the License, or
 * (at your option) any later version.
 *
 * This program is distributed in the hope that it will be useful,
 * but WITHOUT ANY WARRANTY; without even the implied warranty of
 * MERCHANTABILITY or FITNESS FOR A PARTICULAR PURPOSE.  See the
 * GNU General Public License for more details.
 *
 * You should have received a copy of the GNU General Public License
 * along with this program.  If not, see <http://www.gnu.org/licenses/>.
 */

#ifndef ASCII_MODBUS_H
#define ASCII_MODBUS_H

#include <zephyr/types.h>

#include "common.h"

// String identifiers
#define START ':'
#define TERM "\r\n"
#define START_CHAR_8 ( ':' | 0x80 )
#define TERM_CHAR_8 ( '\n' | 0x80 )

// Function codes
#define READ_COIL 0x01
#define READ_INPT 0x02
#define READ_MULTI_HOLD 0x03
#define READ_REGR 0x04
#define WRITE_COIL 0x05
#define WRITE_HOLD 0x06
#define WRITE_MULTI_COIL 0x0F
#define WRITE_MULTI_HOLD 0x10

void convert_7N2_to_8N1 ( uint8_t *buff, size_t len );
void convert_8N1to_7N2 ( uint8_t *buff, size_t len );
uint8_t calc_checksum ( uint8_t *buff, size_t len );
size_t create_msg ( char *buff, cmd_msg_data_t data );
uint8_t ascii_to_int_2 ( uint8_t *buff );
uint16_t ascii_to_int_4 ( uint8_t *buff );

#endif  // ASCII_MODBUS_H
```

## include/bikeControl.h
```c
/*
 * Universal Bike Controller
 * Copyright (C) 2022-2023, Greco Engineering Solutions LLC
 *
 * This program is free software: you can redistribute it and/or modify
 * it under the terms of the GNU General Public License as published by
 * the Free Software Foundation, either version 3 of the License, or
 * (at your option) any later version.
 *
 * This program is distributed in the hope that it will be useful,
 * but WITHOUT ANY WARRANTY; without even the implied warranty of
 * MERCHANTABILITY or FITNESS FOR A PARTICULAR PURPOSE.  See the
 * GNU General Public License for more details.
 *
 * You should have received a copy of the GNU General Public License
 * along with this program.  If not, see <http://www.gnu.org/licenses/>.
 */

#ifndef BIKE_CONTROL_H
#define BIKE_CONTROL_H

#include <zephyr/types.h>

#include "common.h"

#define INC_BUTTON_DLY_MS 250
#define RES_BUTTON_DLY_MS 750

#define RPM_NODE 0x51
#define INC_NODE 0x41
#define RES_NODE 0x61

#define CFG_DELAY_MS 3000

#define INIT_INC 0x0014
#define INIT_RES 0x003A

typedef enum
{
    DECREASE,
    NOTHING,
    INCREASE
} buttonStatus_t;

// Defined in main.c
typedef int ( *send_msg_callback_t ) ( const cmd_msg_data_t );

// Prototypes
void setSendMsgCb ( send_msg_callback_t func ); 
buttonStatus_t evaluateButton ( int up, int down );
void adjustIncline ( buttonStatus_t adj );
void adjustResistance ( buttonStatus_t adj );
void updateBikeTgts ( const bike_tgts_t tgts );  // set_targets_callback_t
void initBike();
int new_msg ( uint8_t *buff, size_t len );
void updateBike();
bike_data_t getBikeData();

#endif  // BIKE_CONTROL_H
```

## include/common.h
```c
/*
 * Universal Bike Controller
 * Copyright (C) 2022-2023, Greco Engineering Solutions LLC
 *
 * This program is free software: you can redistribute it and/or modify
 * it under the terms of the GNU General Public License as published by
 * the Free Software Foundation, either version 3 of the License, or
 * (at your option) any later version.
 *
 * This program is distributed in the hope that it will be useful,
 * but WITHOUT ANY WARRANTY; without even the implied warranty of
 * MERCHANTABILITY or FITNESS FOR A PARTICULAR PURPOSE.  See the
 * GNU General Public License for more details.
 *
 * You should have received a copy of the GNU General Public License
 * along with this program.  If not, see <http://www.gnu.org/licenses/>.
 */

#ifndef COMMON_H
#define COMMON_H

#include <zephyr/types.h>

typedef struct
{
    uint8_t nodeId;
    uint8_t funcCode;
    uint16_t dataAddress;
    uint16_t value;
} cmd_msg_data_t;

typedef struct
{
    int16_t incline;     // 0.01% - 0x7FFF invalid
    uint8_t resistance;  // 0.5% - 0xFF invalid
} bike_tgts_t;
typedef void ( *set_targets_callback_t ) ( const bike_tgts_t );

typedef struct
{
    uint16_t disp_res;
    uint16_t watts;
    uint16_t act_rpm;
    uint16_t tgt_inc;
} bike_data_t;

#endif  // COMMON_H
```

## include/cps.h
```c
/*
 * Universal Bike Controller
 * Copyright (C) 2022-2023, Greco Engineering Solutions LLC
 *
 * This program is free software: you can redistribute it and/or modify
 * it under the terms of the GNU General Public License as published by
 * the Free Software Foundation, either version 3 of the License, or
 * (at your option) any later version.
 *
 * This program is distributed in the hope that it will be useful,
 * but WITHOUT ANY WARRANTY; without even the implied warranty of
 * MERCHANTABILITY or FITNESS FOR A PARTICULAR PURPOSE.  See the
 * GNU General Public License for more details.
 *
 * You should have received a copy of the GNU General Public License
 * along with this program.  If not, see <http://www.gnu.org/licenses/>.
 */

#ifndef CPS_H
#define CPS_H

#include <zephyr/types.h>

#include "common.h"

// Service UUID's
#define BT_UUID_CPS_VAL 0x1818
//#define BT_UUID_CPS BT_UUID_DECLARE_16 ( BT_UUID_CPS_VAL )

// Characteristic UUID's
#define BLE_UUID_CYCLING_POWER_MEASUREMENT_CHAR BT_UUID_DECLARE_16 ( 0x2A63 )
#define BLE_UUID_CYCLING_POWER_FEATURE_CHAR BT_UUID_DECLARE_16 ( 0x2A65 )

// 3.57 Cycling Power Feature (GATT Specification Supplement)
// 3.1 Cycling Power Feature (Cycling Power Service Specification)
typedef struct
{
    uint32_t feat_blsc;
} ble_cps_features_t;

// 3.58 Cycling Power Measurement (GATT Specification Supplement
// 3.2 Cycling Power Measurement (Cycling Power Service Specification)
typedef struct
{
    uint16_t flags;
    int16_t InstantaneousPower;  // Watts
} ble_cps_measurement_data_t;

int bt_cps_notify ( bike_data_t bikeData );

#endif  // CPS_H
```

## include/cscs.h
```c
/*
 * Universal Bike Controller
 * Copyright (C) 2022-2023, Greco Engineering Solutions LLC
 *
 * This program is free software: you can redistribute it and/or modify
 * it under the terms of the GNU General Public License as published by
 * the Free Software Foundation, either version 3 of the License, or
 * (at your option) any later version.
 *
 * This program is distributed in the hope that it will be useful,
 * but WITHOUT ANY WARRANTY; without even the implied warranty of
 * MERCHANTABILITY or FITNESS FOR A PARTICULAR PURPOSE.  See the
 * GNU General Public License for more details.
 *
 * You should have received a copy of the GNU General Public License
 * along with this program.  If not, see <http://www.gnu.org/licenses/>.
 */

#ifndef CSCS_H
#define CSCS_H

#include <zephyr/types.h>

#include "common.h"

// Characteristic UUID's
#define BLE_UUID_CSCS_FEATURE_CHAR BT_UUID_DECLARE_16 ( 0x2A5C )
#define BLE_UUID_CSCS_MEASUREMENT_CHAR BT_UUID_DECLARE_16 ( 0x2A5B )

// 3.2
#define BLE_CSCS_FEATURE_CRANK_REV BIT ( 1 )

typedef struct __attribute__ ( ( __packed__ ) )
{
    uint16_t feat_blsc;
} ble_cscs_features_t;

// 3.1
#define BLE_CSCS_CRANK_FLAGS_FIELD BIT ( 1 )

typedef struct __attribute__ ( ( __packed__ ) )
{
    uint8_t flags;
    uint16_t totalRevs_cnt;
    uint16_t lastCrank_1024;
} ble_cscs_measurement_data_t;

int bt_cscs_bike_notify ( bike_data_t bikeData );

#endif  // CSCS_H
```

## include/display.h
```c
/*
 * Universal Bike Controller
 * Copyright (C) 2022-2023, Greco Engineering Solutions LLC
 *
 * This program is free software: you can redistribute it and/or modify
 * it under the terms of the GNU General Public License as published by
 * the Free Software Foundation, either version 3 of the License, or
 * (at your option) any later version.
 *
 * This program is distributed in the hope that it will be useful,
 * but WITHOUT ANY WARRANTY; without even the implied warranty of
 * MERCHANTABILITY or FITNESS FOR A PARTICULAR PURPOSE.  See the
 * GNU General Public License for more details.
 *
 * You should have received a copy of the GNU General Public License
 * along with this program.  If not, see <http://www.gnu.org/licenses/>.
 */

#ifndef DISPLAY_H
#define DISPLAY_H

#include <string.h>
#include <zephyr/types.h>
#include <zephyr/kernel.h>

#include "common.h"


typedef struct
{
    uint16_t ms;
    uint8_t secs;
    uint8_t mins;
    uint8_t hrs;
    uint32_t last_ms;
    bool running;
} stopwatch_data_t;

int initDisplay();
int updateDisplay ( bike_data_t bikeData );
void resetTime();

#endif  // DISPLAY_H
```

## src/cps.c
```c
/*
 * Universal Bike Controller
 * Copyright (C) 2022-2023, Greco Engineering Solutions LLC
 *
 * This program is free software: you can redistribute it and/or modify
 * it under the terms of the GNU General Public License as published by
 * the Free Software Foundation, either version 3 of the License, or
 * (at your option) any later version.
 *
 * This program is distributed in the hope that it will be useful,
 * but WITHOUT ANY WARRANTY; without even the implied warranty of
 * MERCHANTABILITY or FITNESS FOR A PARTICULAR PURPOSE.  See the
 * GNU General Public License for more details.
 *
 * You should have received a copy of the GNU General Public License
 * along with this program.  If not, see <http://www.gnu.org/licenses/>.
 */

#include "cps.h"

#include <errno.h>
#include <stddef.h>
#include <string.h>
#include <zephyr/bluetooth/bluetooth.h>
#include <zephyr/bluetooth/conn.h>
#include <zephyr/bluetooth/gatt.h>
#include <zephyr/bluetooth/uuid.h>
#include <zephyr/init.h>
#include <zephyr/kernel.h>
#include <zephyr/logging/log.h>
#include <zephyr/types.h>

LOG_MODULE_REGISTER ( cps );
static bool notify_enabled = false;

// Read feature callback
static ble_cps_features_t cps_features = {};
static ssize_t read_feat ( struct bt_conn *conn,
                           const struct bt_gatt_attr *attr,
                           void *buf,
                           uint16_t len,
                           uint16_t offset )
{
    return bt_gatt_attr_read ( conn,
                               attr,
                               buf,
                               len,
                               offset,
                               &cps_features,
                               sizeof ( cps_features ) );
}

static void cps_ccc_cfg_changed ( const struct bt_gatt_attr *attr,
                                  uint16_t value )
{
    ARG_UNUSED ( attr );

    notify_enabled = ( value == BT_GATT_CCC_NOTIFY );

    LOG_INF ( "CPS notifications %s", notify_enabled ? "enabled" : "disabled" );
}

BT_GATT_SERVICE_DEFINE (
    cps_svc,
    BT_GATT_PRIMARY_SERVICE ( BT_UUID_CPS ),
    BT_GATT_CHARACTERISTIC ( BLE_UUID_CYCLING_POWER_FEATURE_CHAR,
                             BT_GATT_CHRC_READ,
                             BT_GATT_PERM_READ,
                             read_feat,
                             NULL,
                             NULL ),
    BT_GATT_CHARACTERISTIC ( BLE_UUID_CYCLING_POWER_MEASUREMENT_CHAR,
                             BT_GATT_CHRC_NOTIFY,
                             BT_GATT_PERM_NONE,
                             NULL,
                             NULL,
                             NULL ),
    BT_GATT_CCC ( cps_ccc_cfg_changed,
                  ( BT_GATT_PERM_READ | BT_GATT_PERM_WRITE ) ) );

static int cps_init ( const struct device *dev )
{
    ARG_UNUSED ( dev );

    /// cps_features doesn't use any optional flags

    return 0;
}

int bt_cps_notify ( bike_data_t bikeData )
{
    if ( !notify_enabled ) {
        return -EACCES;
    }

    static ble_cps_measurement_data_t data = {};
    data.InstantaneousPower = bikeData.watts;

    int rc = bt_gatt_notify_uuid ( NULL,
                                   BLE_UUID_CYCLING_POWER_MEASUREMENT_CHAR,
                                   cps_svc.attrs,
                                   &data,
                                   sizeof ( data ) );
    return rc == -ENOTCONN ? 0 : rc;
}

SYS_INIT ( cps_init, APPLICATION, CONFIG_APPLICATION_INIT_PRIORITY );
```
